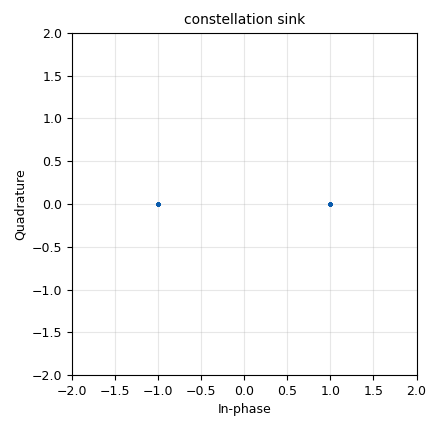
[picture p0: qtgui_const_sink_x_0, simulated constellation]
options:
  parameters:
    author: mzemlo.pl@gmail.com
    generate_options: qt_gui
    id: bpsk_01
    output_language: python
    title: BPSK 01
  states: {}

blocks:
- name: datarate
  id: variable
  parameters:
    value: '16000'
  states: {}
- name: samp_rate
  id: variable
  parameters:
    value: '32000'
  states: {}
- name: analog_const_source_x_0
  id: analog_const_source_x
  parameters:
    const: '0'
    type: float
  states: {}
- name: analog_random_uniform_source_x_0
  id: analog_random_uniform_source_x
  parameters:
    maximum: '2'
    minimum: '0'
    seed: '0'
    type: byte
  states: {}
- name: blocks_add_const_vxx_0
  id: blocks_add_const_vxx
  parameters:
    const: '-1'
    type: float
  states: {}
- name: blocks_complex_to_float_0
  id: blocks_complex_to_float
  parameters: {}
  states: {}
- name: blocks_float_to_complex_0
  id: blocks_float_to_complex
  parameters: {}
  states: {}
- name: blocks_multiply_const_vxx_0
  id: blocks_multiply_const_vxx
  parameters:
    const: '2'
    type: float
  states: {}
- name: blocks_threshold_ff_0
  id: blocks_threshold_ff
  parameters:
    high: '0.25'
    init: '0'
    low: '0.25'
  states: {}
- name: blocks_throttle2_0
  id: blocks_throttle2
  parameters:
    samples_per_second: samp_rate
    type: byte
  states: {}
- name: blocks_uchar_to_float_0
  id: blocks_uchar_to_float
  parameters: {}
  states: {}
- name: qtgui_const_sink_x_0
  id: qtgui_const_sink_x
  parameters:
    name: '"constellation sink"'
    size: '1024'
    type: complex
  states: {}
- name: qtgui_number_sink_0
  id: qtgui_number_sink
  parameters:
    graph_type: qtgui.NUM_GRAPH_HORIZ
    min: '0'
    name: '"input bits"'
    type: float
  states: {}
- name: qtgui_number_sink_1
  id: qtgui_number_sink
  parameters:
    graph_type: qtgui.NUM_GRAPH_HORIZ
    min: '0'
    name: '"output bits"'
    type: float
  states: {}

connections:
- [analog_const_source_x_0, '0', blocks_float_to_complex_0, '1']
- [analog_random_uniform_source_x_0, '0', blocks_throttle2_0, '0']
- [blocks_add_const_vxx_0, '0', blocks_float_to_complex_0, '0']
- [blocks_complex_to_float_0, '0', blocks_threshold_ff_0, '0']
- [blocks_float_to_complex_0, '0', blocks_complex_to_float_0, '0']
- [blocks_float_to_complex_0, '0', qtgui_const_sink_x_0, '0']
- [blocks_multiply_const_vxx_0, '0', blocks_add_const_vxx_0, '0']
- [blocks_threshold_ff_0, '0', qtgui_number_sink_1, '0']
- [blocks_throttle2_0, '0', blocks_uchar_to_float_0, '0']
- [blocks_uchar_to_float_0, '0', blocks_multiply_const_vxx_0, '0']
- [blocks_uchar_to_float_0, '0', qtgui_number_sink_0, '0']

metadata:
  file_format: 1
  grc_version: 3.10.9.2
